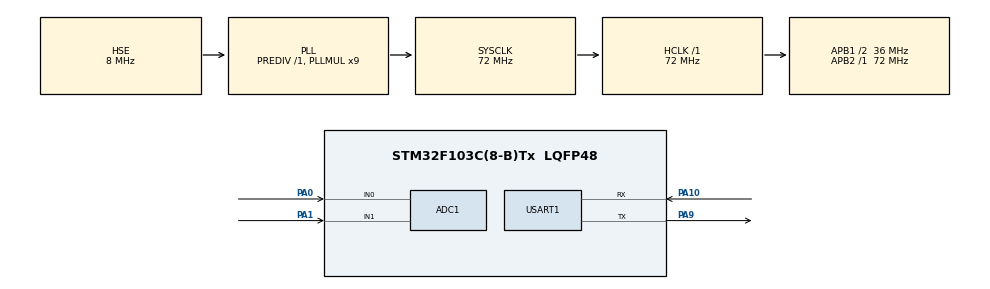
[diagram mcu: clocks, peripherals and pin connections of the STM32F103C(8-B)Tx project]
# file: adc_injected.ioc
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ADC1.Channel-10\#ChannelRegularConversion=ADC_CHANNEL_1
ADC1.Channel-4\#ChannelRegularConversion=ADC_CHANNEL_0
ADC1.ContinuousConvMode=DISABLE
ADC1.DiscontinuousConvMode=ENABLE
ADC1.EnableAnalogWatchDog=false
ADC1.EnableInjectedConversion=DISABLE
ADC1.EnableRegularConversion=ENABLE
ADC1.InjNumberOfConversion=1
ADC1.NbrOfConversion=2
ADC1.NbrOfConversionFlag=1
ADC1.Rank-10\#ChannelRegularConversion=2
ADC1.Rank-4\#ChannelRegularConversion=1
ADC1.SamplingTime-10\#ChannelRegularConversion=ADC_SAMPLETIME_1CYCLE_5
ADC1.SamplingTime-4\#ChannelRegularConversion=ADC_SAMPLETIME_1CYCLE_5
ADC1.master=1
Mcu.Family=STM32F1
Mcu.Name=STM32F103C(8-B)Tx
Mcu.Package=LQFP48
NVIC.PriorityGroup=NVIC_PRIORITYGROUP_4
PA0-WKUP.Signal=ADCx_IN0
PA1.Signal=ADCx_IN1
PA10.Mode=Asynchronous
PA10.Signal=USART1_RX
PA13.Mode=Serial_Wire
PA13.Signal=SYS_JTMS-SWDIO
PA14.Mode=Serial_Wire
PA14.Signal=SYS_JTCK-SWCLK
PA9.Mode=Asynchronous
PA9.Signal=USART1_TX
PD0-OSC_IN.Mode=HSE-External-Oscillator
PD0-OSC_IN.Signal=RCC_OSC_IN
PD1-OSC_OUT.Mode=HSE-External-Oscillator
PD1-OSC_OUT.Signal=RCC_OSC_OUT
ProjectManager.HeapSize=0x200
ProjectManager.StackSize=0x400
ProjectManager.TargetToolchain=MDK-ARM V5.32
RCC.ADCPresc=RCC_ADCPCLK2_DIV6
RCC.AHBFreq_Value=72000000
RCC.APB1CLKDivider=RCC_HCLK_DIV2
RCC.APB1Freq_Value=36000000
RCC.APB1TimFreq_Value=72000000
RCC.APB2Freq_Value=72000000
RCC.APB2TimFreq_Value=72000000
RCC.HCLKFreq_Value=72000000
RCC.PLLMUL=RCC_PLL_MUL9
RCC.PLLSourceVirtual=RCC_PLLSOURCE_HSE
RCC.SYSCLKFreq_VALUE=72000000
RCC.SYSCLKSource=RCC_SYSCLKSOURCE_PLLCLK
RCC.USBFreq_Value=72000000
SH.ADCx_IN0.0=ADC1_IN0,IN0
SH.ADCx_IN1.0=ADC1_IN1,IN1
USART1.VirtualMode=VM_ASYNC
board=custom

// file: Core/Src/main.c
/* USER CODE BEGIN Header */
/**
  ******************************************************************************
  * @file           : main.c
  * @brief          : Main program body
  ******************************************************************************
  * @attention
  *
  * Copyright (c) 2023 STMicroelectronics.
  * All rights reserved.
  *
  * This software is licensed under terms that can be found in the LICENSE file
  * in the root directory of this software component.
  * If no LICENSE file comes with this software, it is provided AS-IS.
  *
  ******************************************************************************
  */
/* USER CODE END Header */
#include "main.h"
#include "adc.h"
#include "usart.h"
#include "gpio.h"

/* USER CODE BEGIN Includes */
#include <stdio.h>
/* USER CODE END Includes */

void SystemClock_Config(void);

/* USER CODE BEGIN 0 */
int fputc(int ch, FILE *file) {
	unsigned char temp[1] = {ch};
	HAL_UART_Transmit(&huart1, temp, 1, 0xfff);
	return ch;
}

/* USER CODE END 0 */

int main(void)
{
  /* USER CODE BEGIN 1 */
	uint32_t result;
	uint32_t result1;
  /* USER CODE END 1 */

  /* MCU Configuration--------------------------------------------------------*/

  /* Reset of all peripherals, Initializes the Flash interface and the Systick. */
  HAL_Init();

  /* Configure the system clock */
  SystemClock_Config();

  /* Initialize all configured peripherals */
  MX_GPIO_Init();
  MX_ADC1_Init();
  MX_USART1_UART_Init();
  /* USER CODE BEGIN 2 */
	HAL_ADCEx_Calibration_Start(&hadc1);
  /* USER CODE END 2 */

  /* Infinite loop */
  while (1)
  {

    /* USER CODE BEGIN 3 */

		HAL_ADC_Start(&hadc1);
		HAL_ADC_PollForConversion(&hadc1, 50);
		result = HAL_ADC_GetValue(&hadc1);

		HAL_ADC_Start(&hadc1);
		HAL_ADC_PollForConversion(&hadc1, 50);
		result1 = HAL_ADC_GetValue(&hadc1);

		printf("result = %f\r\n", 3.3/4096 * result);
		printf("result1 = %f\r\n", 3.3/4096 * result1);
		HAL_ADC_Stop(&hadc1);
		HAL_Delay(1000);

  }
  /* USER CODE END 3 */
}

void SystemClock_Config(void)
{
  RCC_OscInitTypeDef RCC_OscInitStruct = {0};
  RCC_ClkInitTypeDef RCC_ClkInitStruct = {0};
  RCC_PeriphCLKInitTypeDef PeriphClkInit = {0};

  /** Initializes the RCC Oscillators according to the specified parameters
  * in the RCC_OscInitTypeDef structure.
  */
  RCC_OscInitStruct.OscillatorType = RCC_OSCILLATORTYPE_HSE;
  RCC_OscInitStruct.HSEState = RCC_HSE_ON;
  RCC_OscInitStruct.HSEPredivValue = RCC_HSE_PREDIV_DIV1;
  RCC_OscInitStruct.HSIState = RCC_HSI_ON;
  RCC_OscInitStruct.PLL.PLLState = RCC_PLL_ON;
  RCC_OscInitStruct.PLL.PLLSource = RCC_PLLSOURCE_HSE;
  RCC_OscInitStruct.PLL.PLLMUL = RCC_PLL_MUL9;
  if (HAL_RCC_OscConfig(&RCC_OscInitStruct) != HAL_OK)
  {
    Error_Handler();
  }

  /** Initializes the CPU, AHB and APB buses clocks
  */
  RCC_ClkInitStruct.ClockType = RCC_CLOCKTYPE_HCLK|RCC_CLOCKTYPE_SYSCLK
                              |RCC_CLOCKTYPE_PCLK1|RCC_CLOCKTYPE_PCLK2;
  RCC_ClkInitStruct.SYSCLKSource = RCC_SYSCLKSOURCE_PLLCLK;
  RCC_ClkInitStruct.AHBCLKDivider = RCC_SYSCLK_DIV1;
  RCC_ClkInitStruct.APB1CLKDivider = RCC_HCLK_DIV2;
  RCC_ClkInitStruct.APB2CLKDivider = RCC_HCLK_DIV1;

  if (HAL_RCC_ClockConfig(&RCC_ClkInitStruct, FLASH_LATENCY_2) != HAL_OK)
  {
    Error_Handler();
  }
  PeriphClkInit.PeriphClockSelection = RCC_PERIPHCLK_ADC;
  PeriphClkInit.AdcClockSelection = RCC_ADCPCLK2_DIV6;
  if (HAL_RCCEx_PeriphCLKConfig(&PeriphClkInit) != HAL_OK)
  {
    Error_Handler();
  }
}

void Error_Handler(void)
{
  __disable_irq();
  while (1)
  {
  }
}
